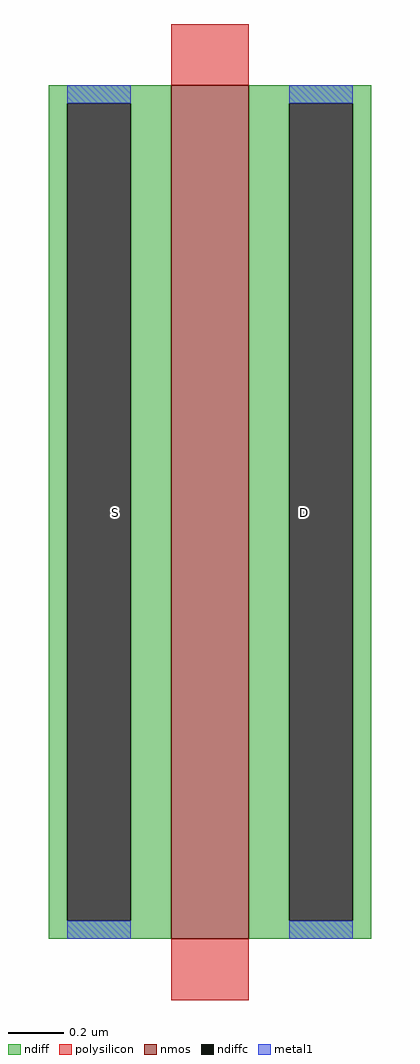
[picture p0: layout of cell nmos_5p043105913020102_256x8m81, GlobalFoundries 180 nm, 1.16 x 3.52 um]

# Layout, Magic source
magic
tech gf180mcuD
magscale 1 10
<< nmos >>
rect 0 0 56 615
<< ndiff >>
rect -88 602 0 615
rect -88 13 -75 602
rect -29 13 0 602
rect -88 0 0 13
rect 56 602 144 615
rect 56 13 85 602
rect 131 13 144 602
rect 56 0 144 13
<< ndiffc >>
rect -75 13 -29 602
rect 85 13 131 602
<< polysilicon >>
rect 0 615 56 659
rect 0 -44 56 0
<< metal1 >>
rect -75 602 -29 615
rect -75 0 -29 13
rect 85 602 131 615
rect 85 0 131 13
<< labels >>
flabel ndiffc -40 307 -40 307 0 FreeSans 93 0 0 0 S
flabel ndiffc 96 307 96 307 0 FreeSans 93 0 0 0 D
<< end >>
